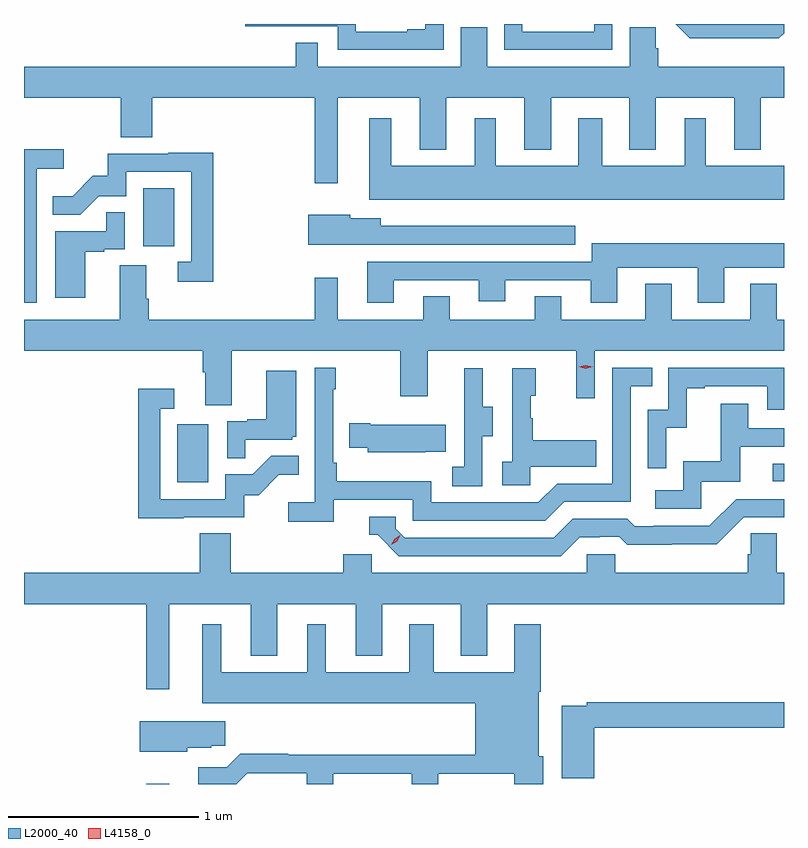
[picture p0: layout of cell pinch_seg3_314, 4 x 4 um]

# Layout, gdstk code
import gdstk
lib = gdstk.Library(unit=1e-6, precision=1e-09)
def R(c, l, rs):  # rectangles x0, y0, x1, y1
    for r in rs: c.add(gdstk.rectangle(r[:2], r[2:], *l))
def P(c, l, *ps):  # polygons
    for p in ps: c.add(gdstk.Polygon(p, *l))
L2000_40 = (2000, 40)
L4158_0 = (4158, 0)

pinch_seg3_314 = lib.new_cell('pinch_seg3_314')
R(pinch_seg3_314, L2000_40, [(998.1,713.289,998.221,713.29), (998.264,714.876,998.428,715.183), (1001.397,714.882,1001.457,714.975), (998.084,716.118,998.248,716.425)])
P(pinch_seg3_314, L2000_40, [(1001.457,717.241),(1001.457,717.289),(1000.886,717.289),(1000.96,717.215),(1001.196,717.215),(1001.196,717.213),(1001.429,717.213)],
  [(1000.554,717.289),(1000.457,717.289),(1000.457,717.249),(1000.08,717.249),(1000.08,717.289),(999.984,717.289),(999.984,717.153),(1000.554,717.153)],
  [(999.666,717.289),(999.569,717.289),(999.569,717.262),(999.473,717.262),(999.473,717.249),(999.204,717.249),(999.204,717.289),(998.622,717.289),(998.622,717.276),(999.108,717.276),(999.108,717.153),(999.666,717.153)],
  [(999.109,716.9),(999.539,716.9),(999.539,716.627),(999.679,716.627),(999.679,716.9),(1000.091,716.9),(1000.091,716.627),(1000.231,716.627),(1000.231,716.9),(1000.643,716.9),(1000.643,716.627),(1000.783,716.627),(1000.783,716.9),(1001.195,716.9),(1001.195,716.627),(1001.335,716.627),(1001.335,716.9),(1001.457,716.9),(1001.457,717.064),(1000.796,717.064),(1000.796,717.162),(1000.781,717.162),(1000.781,717.272),(1000.644,717.272),(1000.644,717.064),(999.894,717.064),(999.894,717.272),(999.755,717.272),(999.755,717.064),(999.003,717.064),(999.003,717.191),(998.887,717.191),(998.887,717.064),(997.457,717.064),(997.457,716.9),(997.967,716.9),(997.967,716.692),(998.132,716.692),(998.132,716.9),(998.988,716.9),(998.988,716.451),(999.109,716.451)],
  [(1001.457,716.542),(1001.044,716.542),(1001.044,716.794),(1000.934,716.794),(1000.934,716.542),(1000.501,716.542),(1000.501,716.794),(1000.373,716.794),(1000.373,716.542),(999.94,716.542),(999.94,716.794),(999.83,716.794),(999.83,716.542),(999.391,716.542),(999.391,716.794),(999.275,716.794),(999.275,716.363),(1001.457,716.363)],
  [(997.524,716.528),(997.666,716.528),(997.666,716.63),(997.457,716.63),(997.457,715.821),(997.524,715.821)],
  [(998.453,716.612),(998.215,716.612),(998.215,716.607),(997.897,716.607),(997.897,716.49),(997.82,716.49),(997.713,716.383),(997.609,716.383),(997.609,716.284),(997.753,716.284),(997.851,716.382),(997.995,716.382),(997.995,716.511),(998.337,716.511),(998.337,716.037),(998.265,716.037),(998.265,715.932),(998.453,715.932)],
  [(997.78,716.091),(997.88,716.091),(997.88,716.103),(997.986,716.103),(997.986,716.297),(997.891,716.297),(997.891,716.199),(997.622,716.199),(997.622,715.848),(997.78,715.848)],
  [(1000.357,716.227),(999.334,716.227),(999.334,716.266),(999.174,716.266),(999.174,716.284),(998.954,716.284),(998.954,716.126),(1000.357,716.126)],
  [(999.403,715.941),(999.851,715.941),(999.851,715.829),(999.991,715.829),(999.991,715.941),(1000.439,715.941),(1000.439,715.821),(1000.579,715.821),(1000.579,716.006),(1001.003,716.006),(1001.003,715.821),(1001.143,715.821),(1001.143,716.006),(1001.457,716.006),(1001.457,716.134),(1000.445,716.134),(1000.445,716.037),(999.263,716.037),(999.263,715.821),(999.403,715.821)],
  [(998.551,715.568),(999.436,715.568),(999.436,715.329),(999.583,715.329),(999.583,715.568),(1000.364,715.568),(1000.364,715.32),(1000.461,715.32),(1000.461,715.568),(1001.457,715.568),(1001.457,715.732),(1001.419,715.732),(1001.419,715.921),(1001.279,715.921),(1001.279,715.732),(1000.867,715.732),(1000.867,715.921),(1000.727,715.921),(1000.727,715.732),(1000.285,715.732),(1000.285,715.856),(1000.145,715.856),(1000.145,715.732),(999.697,715.732),(999.697,715.856),(999.557,715.856),(999.557,715.732),(999.109,715.732),(999.109,715.954),(998.988,715.954),(998.988,715.732),(998.114,715.732),(998.114,715.844),(998.101,715.844),(998.101,716.018),(997.961,716.018),(997.961,715.732),(997.457,715.732),(997.457,715.568),(998.399,715.568),(998.399,715.456),(998.411,715.456),(998.411,715.282),(998.551,715.282)],
  [(999.086,714.786),(999.504,714.786),(999.504,714.675),(1000.201,714.675),(1000.3,714.774),(1000.65,714.774),(1000.65,715.383),(1000.763,715.383),(1000.763,715.479),(1000.554,715.479),(1000.554,714.87),(1000.263,714.87),(1000.164,714.771),(999.6,714.771),(999.6,714.883),(999.104,714.883),(999.104,714.979),(999.084,714.979),(999.084,715.367),(999.097,715.367),(999.097,715.48),(998.988,715.48),(998.988,714.772),(998.847,714.772),(998.847,714.67),(999.086,714.67)],
  [(1000.836,715.163),(1000.946,715.163),(1000.946,715.371),(1001.041,715.371),(1001.041,715.383),(1001.37,715.383),(1001.37,715.26),(1001.457,715.26),(1001.457,715.479),(1000.848,715.479),(1000.848,715.26),(1000.74,715.26),(1000.74,714.951),(1000.836,714.951)],
  [(999.87,715.12),(999.925,715.12),(999.925,715.275),(999.871,715.275),(999.871,715.477),(999.773,715.477),(999.773,715.263),(999.774,715.263),(999.774,714.959),(999.711,714.959),(999.711,714.856),(999.87,714.856)],
  [(1000.122,714.959),(1000.469,714.959),(1000.469,715.099),(1000.135,715.099),(1000.135,715.214),(1000.125,715.214),(1000.125,715.332),(1000.15,715.332),(1000.15,715.477),(1000.026,715.477),(1000.026,714.986),(999.975,714.986),(999.975,714.861),(1000.122,714.861)],
  [(998.621,715.101),(998.868,715.101),(998.868,715.116),(998.89,715.116),(998.89,715.465),(998.732,715.465),(998.732,715.21),(998.633,715.21),(998.633,715.197),(998.526,715.197),(998.526,715.003),(998.621,715.003)],
  [(998.297,714.693),(998.616,714.693),(998.616,714.81),(998.692,714.81),(998.799,714.917),(998.903,714.917),(998.903,715.016),(998.759,715.016),(998.661,714.918),(998.517,714.918),(998.517,714.789),(998.175,714.789),(998.175,715.263),(998.248,715.263),(998.248,715.369),(998.059,715.369),(998.059,714.688),(998.297,714.688)],
  [(1001.022,714.879),(1001.227,714.879),(1001.227,715.065),(1001.457,715.065),(1001.457,715.161),(1001.269,715.161),(1001.269,715.291),(1001.125,715.291),(1001.125,714.988),(1000.926,714.988),(1000.926,714.834),(1000.779,714.834),(1000.779,714.738),(1001.022,714.738)],
  [(999.569,715.037),(999.677,715.037),(999.677,715.18),(999.28,715.18),(999.28,715.188),(999.169,715.188),(999.169,715.058),(999.267,715.058),(999.267,715.034),(999.569,715.034)],
  [(1000.381,714.588),(1000.488,714.588),(1000.488,714.591),(1000.591,714.591),(1000.633,714.549),(1000.866,714.549),(1000.866,714.551),(1001.102,714.551),(1001.244,714.693),(1001.457,714.693),(1001.457,714.789),(1001.205,714.789),(1001.064,714.648),(1000.771,714.648),(1000.771,714.645),(1000.672,714.645),(1000.633,714.684),(1000.344,714.684),(1000.245,714.585),(999.462,714.585),(999.414,714.633),(999.414,714.696),(999.275,714.696),(999.275,714.6),(999.318,714.6),(999.429,714.489),(1000.282,714.489)],
  [(998.221,714.236),(998.651,714.236),(998.651,713.963),(998.791,713.963),(998.791,714.236),(999.203,714.236),(999.203,713.963),(999.343,713.963),(999.343,714.236),(999.755,714.236),(999.755,713.963),(999.895,713.963),(999.895,714.236),(1001.457,714.236),(1001.457,714.4),(1001.418,714.4),(1001.418,714.608),(1001.281,714.608),(1001.281,714.498),(1001.267,714.498),(1001.267,714.4),(1000.569,714.4),(1000.569,714.498),(1000.419,714.498),(1000.419,714.4),(999.288,714.4),(999.288,714.498),(999.137,714.498),(999.137,714.4),(998.546,714.4),(998.546,714.608),(998.381,714.608),(998.381,714.4),(997.457,714.4),(997.457,714.236),(998.1,714.236),(998.1,713.787),(998.221,713.787)],
  [(998.631,713.346),(998.945,713.346),(998.945,713.289),(999.085,713.289),(999.085,713.343),(999.497,713.343),(999.497,713.289),(999.637,713.289),(999.637,713.343),(1000.037,713.343),(1000.037,713.289),(1000.189,713.289),(1000.189,713.436),(1000.165,713.436),(1000.165,713.774),(1000.178,713.774),(1000.178,714.13),(1000.037,714.13),(1000.037,713.878),(999.613,713.878),(999.613,714.13),(999.485,714.13),(999.485,713.878),(999.046,713.878),(999.046,714.13),(998.948,714.13),(998.948,713.878),(998.494,713.878),(998.494,714.13),(998.396,714.13),(998.396,713.714),(999.833,713.714),(999.833,713.444),(998.849,713.444),(998.849,713.447),(998.594,713.447),(998.523,713.376),(998.375,713.376),(998.375,713.289),(998.574,713.289)],
  [(1000.457,713.584),(1001.457,713.584),(1001.457,713.72),(1000.42,713.72),(1000.42,713.7),(1000.286,713.7),(1000.286,713.319),(1000.457,713.319)],
  [(998.316,713.48),(998.442,713.48),(998.442,713.491),(998.515,713.491),(998.515,713.62),(998.066,713.62),(998.066,713.459),(998.316,713.459)])
P(pinch_seg3_314, L4158_0, [(999.391,714.547),(999.391,714.547),(999.407,714.58),(999.438,714.599),(999.438,714.599),(999.438,714.598),(999.422,714.566),(999.391,714.547)],
  [(1000.414,715.474),(1000.378,715.484),(1000.378,715.484),(1000.378,715.484),(1000.414,715.494),(1000.449,715.484),(1000.45,715.484),(1000.449,715.484)])

lib.write_gds('pinch_seg3_314.gds')
